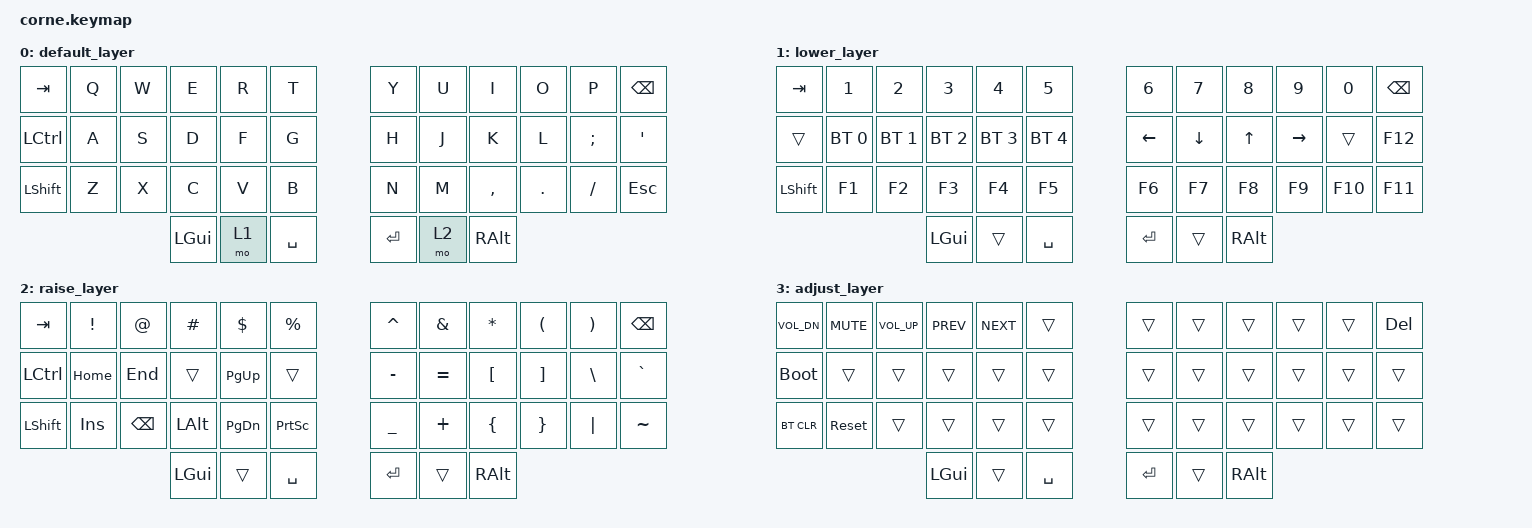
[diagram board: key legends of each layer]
/*
 * Copyright (c) 2020 The ZMK Contributors
 *
 * SPDX-License-Identifier: MIT
 */

#include <behaviors.dtsi>
#include <dt-bindings/zmk/keys.h>
#include <dt-bindings/zmk/bt.h>

/ {
    conditional_layers {
        compatible = "zmk,conditional-layers";

        adjust_layer_trigger {
            if-layers = <1 2>;
            then-layer = <3>;
        };
    };

    keymap {
        compatible = "zmk,keymap";

        default_layer {
// -----------------------------------------------------------------------------------------
// |  TAB |  Q  |  W  |  E  |  R  |  T  |   |  Y  |  U   |  I  |  O  |  P  | BSPC |
// | CTRL |  A  |  S  |  D  |  F  |  G  |   |  H  |  J   |  K  |  L  |  ;  |  '   |
// | SHFT |  Z  |  X  |  C  |  V  |  B  |   |  N  |  M   |  ,  |  .  |  /  | ESC  |
//                    | GUI | LWR | SPC |   | ENT | RSE  | ALT |
            bindings = <
                &kp TAB   &kp Q &kp W &kp E &kp R &kp T   &kp Y &kp U  &kp I     &kp O   &kp P    &kp BSPC
                &kp LCTRL &kp A &kp S &kp D &kp F &kp G   &kp H &kp J  &kp K     &kp L   &kp SEMI &kp SQT
                &kp LSHFT &kp Z &kp X &kp C &kp V &kp B   &kp N &kp M  &kp COMMA &kp DOT &kp FSLH &kp ESC
                          &kp LGUI &mo 1 &kp SPACE        &kp RET &mo 2 &kp RALT
            >;
        };

        lower_layer {
// -----------------------------------------------------------------------------------------
// |  TAB |  1  |  2  |  3  |  4  |  5  |   |  6  |  7  |  8  |  9  |  0  | BSPC |
// |      | BT1 | BT2 | BT3 | BT4 | BT5 |   | LFT | DWN |  UP | RGT |     | F12  |
// | SHFT |  F1 |  F2 |  F3 |  F4 |  F5 |   | F6  |  F7 |  F8 |  F9 | F10 | F11  |
//                    | GUI |     | SPC |   | ENT |     | ALT |
            bindings = <
                &kp TAB    &kp N1       &kp N2       &kp N3       &kp N4       &kp N5         &kp N6   &kp N7   &kp N8 &kp N9    &kp N0  &kp BSPC
                &trans     &bt BT_SEL 0 &bt BT_SEL 1 &bt BT_SEL 2 &bt BT_SEL 3 &bt BT_SEL 4   &kp LEFT &kp DOWN &kp UP &kp RIGHT &trans  &kp F12
                &kp LSHFT  &kp F1       &kp F2       &kp F3       &kp F4       &kp F5         &kp F6   &kp F7   &kp F8 &kp F9    &kp F10 &kp F11
                                      &kp LGUI &trans &kp SPACE   &kp RET &trans &kp RALT
            >;
        };

        raise_layer {
// -----------------------------------------------------------------------------------------
// |  TAB |  !  |  @  |  #  |  $  |  %  |   |  ^  |  &  |  *  |  (  |  )  | BSPC |
// | CTRL | Home| End |     | PgUp|     |   |  -  |  =  |  [  |  ]  |  \  |  `   |
// | SHFT | Ins | BkSp| Alt | PgDn|PSCRN|   |  _  |  +  |  {  |  }  | "|" |  ~   |
//                    | GUI |     | SPC |   | ENT |     | ALT |
            bindings = <
                &kp TAB   &kp EXCL &kp AT   &kp HASH   &kp DLLR    &kp PRCNT      &kp CARET &kp AMPS  &kp ASTRK &kp LPAR &kp RPAR &kp BSPC
                &kp LCTRL &kp HOME &kp END  &trans     &kp PG_UP   &trans         &kp MINUS &kp EQUAL &kp LBKT  &kp RBKT &kp BSLH &kp GRAVE
                &kp LSHFT &kp INS  &kp BSPC &kp LALT   &kp PG_DN   &kp PSCRN      &kp UNDER &kp PLUS  &kp LBRC  &kp RBRC &kp PIPE &kp TILDE
                             &kp LGUI &trans   &kp SPACE   &kp RET   &trans    &kp RALT
            >;
        };

        adjust_layer {
// -----------------------------------------------------------------------------------------
// | VOL- |MUTE |VOL+ |PREV |NEXT |     |   |     |     |     |     |     |  DEL |
// | BOOT |     |     |     |     |     |   |     |     |     |     |     |      |
// | BTCLR|RESET|     |     |     |     |   |     |     |     |     |     |      |
//                    | GUI |     | SPC |   | ENT |     | ALT |
bindings = <
    &kp C_VOL_DN &kp C_MUTE &kp C_VOL_UP &kp C_PREV &kp C_NEXT &trans         &trans     &trans    &trans          &trans     &trans       &kp DEL
    &bootloader  &trans     &trans       &trans     &trans     &trans         &trans     &trans    &trans          &trans     &trans       &trans
    &bt BT_CLR   &sys_reset &trans       &trans     &trans     &trans         &trans     &trans    &trans          &trans     &trans       &trans
                                    &kp LGUI &trans &kp SPACE                     &kp RET &trans &kp RALT
            >;
        };
    };
};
